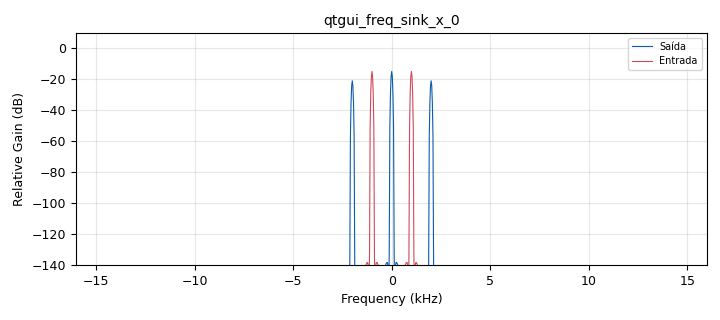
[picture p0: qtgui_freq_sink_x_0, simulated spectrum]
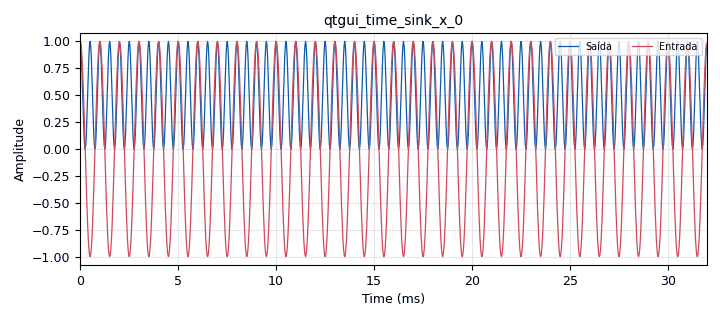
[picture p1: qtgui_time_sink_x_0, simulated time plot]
options:
  parameters:
    generate_options: qt_gui
    id: DemoCanalMultiplicador
    output_language: python
    title: Not titled yet
  states: {}

blocks:
- name: samp_rate
  id: variable
  parameters:
    value: '32000'
  states: {}
- name: analog_sig_source_x_0
  id: analog_sig_source_x
  parameters:
    amp: '1'
    freq: '1000'
    offset: '0'
    phase: '0'
    samp_rate: samp_rate
    type: float
    waveform: analog.GR_COS_WAVE
  states: {}
- name: audio_source_0
  id: audio_source
  parameters:
    samp_rate: samp_rate
  states: {state: disabled}
- name: blocks_add_xx_0
  id: blocks_add_xx
  parameters:
    type: float
  states: {state: disabled}
- name: blocks_multiply_xx_0
  id: blocks_multiply_xx
  parameters:
    type: float
  states: {}
- name: blocks_throttle_0
  id: blocks_throttle
  parameters:
    samples_per_second: samp_rate
    type: float
  states: {}
- name: qtgui_freq_sink_x_0
  id: qtgui_freq_sink_x
  parameters:
    bw: samp_rate
    fc: '0'
    fftsize: '1024'
    label1: Saída
    label2: Entrada
    nconnections: '2'
    type: float
    wintype: firdes.WIN_BLACKMAN_hARRIS
  states: {}
- name: qtgui_time_sink_x_0
  id: qtgui_time_sink_x
  parameters:
    label1: Saída
    label2: Entrada
    nconnections: '2'
    size: '1024'
    srate: samp_rate
    type: float
  states: {}

connections:
- [analog_sig_source_x_0, '0', blocks_multiply_xx_0, '0']
- [analog_sig_source_x_0, '0', blocks_multiply_xx_0, '1']
- [analog_sig_source_x_0, '0', blocks_throttle_0, '0']
- [audio_source_0, '0', blocks_throttle_0, '0']
- [blocks_multiply_xx_0, '0', qtgui_freq_sink_x_0, '0']
- [blocks_multiply_xx_0, '0', qtgui_time_sink_x_0, '0']
- [blocks_throttle_0, '0', qtgui_freq_sink_x_0, '1']
- [blocks_throttle_0, '0', qtgui_time_sink_x_0, '1']

metadata:
  file_format: 1
